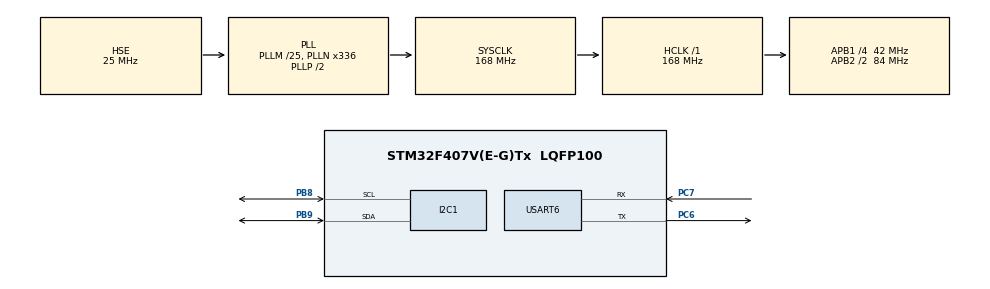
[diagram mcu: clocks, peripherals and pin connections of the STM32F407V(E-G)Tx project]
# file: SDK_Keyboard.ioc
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Mcu.Family=STM32F4
Mcu.Name=STM32F407V(E-G)Tx
Mcu.Package=LQFP100
NVIC.PriorityGroup=NVIC_PRIORITYGROUP_4
PA13.Mode=JTAG_5_pins
PA13.Signal=SYS_JTMS-SWDIO
PA14.Mode=JTAG_5_pins
PA14.Signal=SYS_JTCK-SWCLK
PA15.Mode=JTAG_5_pins
PA15.Signal=SYS_JTDI
PB3.Mode=JTAG_5_pins
PB3.Signal=SYS_JTDO-SWO
PB4.Mode=JTAG_5_pins
PB4.Signal=SYS_JTRST
PB8.Mode=I2C
PB8.Signal=I2C1_SCL
PB9.Mode=I2C
PB9.Signal=I2C1_SDA
PC6.Mode=Asynchronous
PC6.Signal=USART6_TX
PC7.Mode=Asynchronous
PC7.Signal=USART6_RX
PH0-OSC_IN.Mode=HSE-External-Oscillator
PH0-OSC_IN.Signal=RCC_OSC_IN
PH1-OSC_OUT.Mode=HSE-External-Oscillator
PH1-OSC_OUT.Signal=RCC_OSC_OUT
ProjectManager.HeapSize=0x200
ProjectManager.StackSize=0x400
ProjectManager.TargetToolchain=STM32CubeIDE
RCC.48MHZClocksFreq_Value=84000000
RCC.AHBFreq_Value=168000000
RCC.APB1CLKDivider=RCC_HCLK_DIV4
RCC.APB1Freq_Value=42000000
RCC.APB1TimFreq_Value=84000000
RCC.APB2CLKDivider=RCC_HCLK_DIV2
RCC.APB2Freq_Value=84000000
RCC.APB2TimFreq_Value=168000000
RCC.CortexFreq_Value=168000000
RCC.HCLKFreq_Value=168000000
RCC.HSE_VALUE=25000000
RCC.HSI_VALUE=16000000
RCC.LSE_VALUE=32768
RCC.PLLM=25
RCC.PLLN=336
RCC.PLLSourceVirtual=RCC_PLLSOURCE_HSE
RCC.SYSCLKFreq_VALUE=168000000
RCC.SYSCLKSource=RCC_SYSCLKSOURCE_PLLCLK
RCC.VCOOutputFreq_Value=336000000
USART6.VirtualMode=VM_ASYNC
board=custom

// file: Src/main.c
/* USER CODE BEGIN Header */
/**
  ******************************************************************************
  * @file           : main.c
  * @brief          : Main program body
  ******************************************************************************
  * @attention
  *
  * <h2><center>&copy; Copyright (c) 2019 STMicroelectronics.
  * All rights reserved.</center></h2>
  *
  * This software component is licensed by ST under BSD 3-Clause license,
  * the "License"; You may not use this file except in compliance with the
  * License. You may obtain a copy of the License at:
  *                        opensource.org/licenses/BSD-3-Clause
  *
  ******************************************************************************
  */
/* USER CODE END Header */

#include "main.h"
#include "i2c.h"
#include "usart.h"
#include "gpio.h"

/* USER CODE BEGIN Includes */
#include "kb.h"
#include "sdk_uart.h"
#include "pca9538.h"
#include "oled.h"
#include "fonts.h"
/* USER CODE END Includes */

void SystemClock_Config(void);
/* USER CODE BEGIN PFP */
uint8_t KB_Read();
void OLED_KB( uint8_t OLED_Keys[]);
void oled_Reset( void );
void invite(char* str);
void invite_op(void);
/* USER CODE END PFP */

int main(void)
{

  /* MCU Configuration--------------------------------------------------------*/

  /* Reset of all peripherals, Initializes the Flash interface and the Systick. */
  HAL_Init();

  /* Configure the system clock */
  SystemClock_Config();

  /* Initialize all configured peripherals */
  MX_GPIO_Init();
  MX_I2C1_Init();
  MX_USART6_UART_Init();
  /* USER CODE BEGIN 2 */
  oled_Init();
  uint8_t digitsTotal = 10;
  /* USER CODE END 2 */

  /* Infinite loop */
  /* USER CODE BEGIN WHILE */
  while (1)
  {
    /* USER CODE BEGIN 3 */
	  UART_Transmit( (uint8_t*)"KB test start\n" );
	  uint8_t Row[4] = {0xF7, 0x7B, 0x3D, 0x1E}, Key, OldKey, OLED_Keys[12] = {0x30,0x30,0x30,0x30,0x30,0x30,0x30,0x30,0x30,0x30,0x30,0x30}, new_key;
	  new_key = 0;

	  while(1) {
		  uint8_t enter = 0;
		  int first_num = 0;
		  int second_num = 0;
		  double result = 0;
		  oled_Reset();
		  invite("Enter first");
		  uint8_t digitCount = 0;
		  char first_num_str[50];
		  sprintf(first_num_str, "%d", first_num);
		  oled_WriteString(first_num_str,  Font_7x10, White);
		  oled_UpdateScreen();
		  while(!(enter == 1)) {
			  new_key = KB_Read();
			  if (new_key > 0 && new_key <= digitsTotal) {
				  if (new_key == 10) {
				  	new_key = 0;
				  }
				invite("Enter first");
				first_num *= 10;
				first_num += new_key;
			  	sprintf(first_num_str, "%d", first_num);
			  	oled_WriteString(first_num_str,  Font_7x10, White);
			  	oled_UpdateScreen();
			  	digitCount++;
				HAL_Delay(200);
			  } else if (new_key > 0 && new_key == 11) {
				  enter = 1;
			  }
			  HAL_Delay(50);
		  }
		  enter = 0;
		  digitCount = 0;
		  invite("Enter second");
		  char second_num_str[50];
		  sprintf(second_num_str, "%d", second_num);
		  oled_WriteString(second_num_str,  Font_7x10, White);
		  oled_UpdateScreen();
		  while(!(enter == 1)) {
		  			  new_key = KB_Read();
		  			  if (new_key > 0 && new_key <= digitsTotal) {
		  				  if (new_key == 10) {
		  					  new_key = 0;
		  				  }
		  				invite("Enter second");
		  				second_num *= 10;
		  				second_num += new_key;
		  			  	sprintf(second_num_str, "%d", second_num);
		  			  	oled_WriteString(second_num_str,  Font_7x10, White);
		  			  	oled_UpdateScreen();
		  			  	digitCount++;
		  				HAL_Delay(200);
		  			  } else if (new_key > 0 && new_key == 11) {
		  				  enter = 1;
		  			  }
		  			  HAL_Delay(50);
		  		  }
		  enter = 0;
		  digitCount = 0;
		  invite_op()

		  while(!(enter == 1)) {
		   			  new_key = KB_Read();
		   			  if (new_key > 0 && new_key <= digitsTotal) {
		   				  if (new_key == 1) {
		   					result = ((double) first_num / second_num);
		   				  }
		   				  if (new_key == 4) {
		   					result = ((double) first_num * second_num);
		   				  }
		   				  if (new_key == 7) {
		   					result = ((double) first_num - second_num);
		   				  }
		   				  if (new_key == 10) {
		   					result = ((double) first_num + second_num);
		   				  }
		   				enter = 1;
		   			  }
		   			HAL_Delay(50);
		   }
		  enter = 0;
		  oled_Fill(Black);
		  oled_SetCursor(0, 0);
		  oled_WriteString("Result", Font_7x10, White);
		  oled_SetCursor(0, 20);
		  char result_str[50];
		  sprintf(result_str, "%f", result);
		  oled_WriteString(result_str, Font_7x10, White);
		  oled_UpdateScreen();
		  while(!(enter == 1)) {
		  	new_key = KB_Read();
		  	if (new_key > 0 && new_key == 11) {
		  		enter = 1;
		  	}
		  	HAL_Delay(50);
		  }
		  enter = 0;
		  HAL_Delay(50);
	  }
  }
  /* USER CODE END 3 */
  /* USER CODE END WHILE */

}

void SystemClock_Config(void)
{
  RCC_OscInitTypeDef RCC_OscInitStruct = {0};
  RCC_ClkInitTypeDef RCC_ClkInitStruct = {0};

  /** Configure the main internal regulator output voltage
  */
  __HAL_RCC_PWR_CLK_ENABLE();
  __HAL_PWR_VOLTAGESCALING_CONFIG(PWR_REGULATOR_VOLTAGE_SCALE1);
  /** Initializes the CPU, AHB and APB busses clocks
  */
  RCC_OscInitStruct.OscillatorType = RCC_OSCILLATORTYPE_HSE;
  RCC_OscInitStruct.HSEState = RCC_HSE_ON;
  RCC_OscInitStruct.PLL.PLLState = RCC_PLL_ON;
  RCC_OscInitStruct.PLL.PLLSource = RCC_PLLSOURCE_HSE;
  RCC_OscInitStruct.PLL.PLLM = 25;
  RCC_OscInitStruct.PLL.PLLN = 336;
  RCC_OscInitStruct.PLL.PLLP = RCC_PLLP_DIV2;
  RCC_OscInitStruct.PLL.PLLQ = 4;
  if (HAL_RCC_OscConfig(&RCC_OscInitStruct) != HAL_OK)
  {
    Error_Handler();
  }
  /** Initializes the CPU, AHB and APB busses clocks
  */
  RCC_ClkInitStruct.ClockType = RCC_CLOCKTYPE_HCLK|RCC_CLOCKTYPE_SYSCLK
                              |RCC_CLOCKTYPE_PCLK1|RCC_CLOCKTYPE_PCLK2;
  RCC_ClkInitStruct.SYSCLKSource = RCC_SYSCLKSOURCE_PLLCLK;
  RCC_ClkInitStruct.AHBCLKDivider = RCC_SYSCLK_DIV1;
  RCC_ClkInitStruct.APB1CLKDivider = RCC_HCLK_DIV4;
  RCC_ClkInitStruct.APB2CLKDivider = RCC_HCLK_DIV2;

  if (HAL_RCC_ClockConfig(&RCC_ClkInitStruct, FLASH_LATENCY_5) != HAL_OK)
  {
    Error_Handler();
  }
}

/* USER CODE BEGIN 4 */

void invite(char* str){
	oled_Fill(Black);
	oled_SetCursor(0,0);
	oled_WriteString(str, Font_7x10, White);
	oled_UpdateScreen();
	oled_SetCursor(0,20);
}

void invite_op(){
	oled_Fill(Black);
	oled_SetCursor(0, 0);
	oled_WriteString("Enter operation", Font_7x10, White);
	oled_SetCursor(0, 12);
	oled_WriteString("/", Font_7x10, White);
	oled_SetCursor(0, 24);
	oled_WriteString("*", Font_7x10, White);
	oled_SetCursor(0, 36);
	oled_WriteString("-", Font_7x10, White);
	oled_SetCursor(0, 48);
	oled_WriteString("+", Font_7x10, White);
	oled_UpdateScreen();
}

uint8_t KB_Read() {
uint8_t Row[4] = {0xF7, 0x7B, 0x3D, 0x1E};
	switch (Check_Row(Row[0])) {
		case 0x01: return 12;
		case 0x02: return 11;
		case 0x04: return 10;
	}
	switch (Check_Row(Row[1])) {
		case 0x01: return 9;
		case 0x02: return 8;
		case 0x04: return 7;
	}
	switch (Check_Row(Row[2])) {
		case 0x01: return 6;
		case 0x02: return 5;
		case 0x04: return 4;
	}
	switch (Check_Row(Row[3])) {
		case 0x01: return 3;
		case 0x02: return 2;
		case 0x04: return 1;
	}
	return 0;
}

void OLED_KB( uint8_t OLED_Keys[12]) {
	for (int i = 3; i >= 0; i--) {
		oled_SetCursor(56, 5+(4-i)*10);
		for (int j = 0; j < 3; j++) {
			oled_WriteChar(OLED_Keys[j+3*i], Font_7x10, White);
		}
	}
	oled_UpdateScreen();
}
void oled_Reset( void ) {
	oled_Fill(Black);
	oled_SetCursor(0, 0);
	oled_UpdateScreen();
}
/* USER CODE END 4 */

void Error_Handler(void)
{
}

/************************ (C) COPYRIGHT STMicroelectronics *****END OF FILE****/
